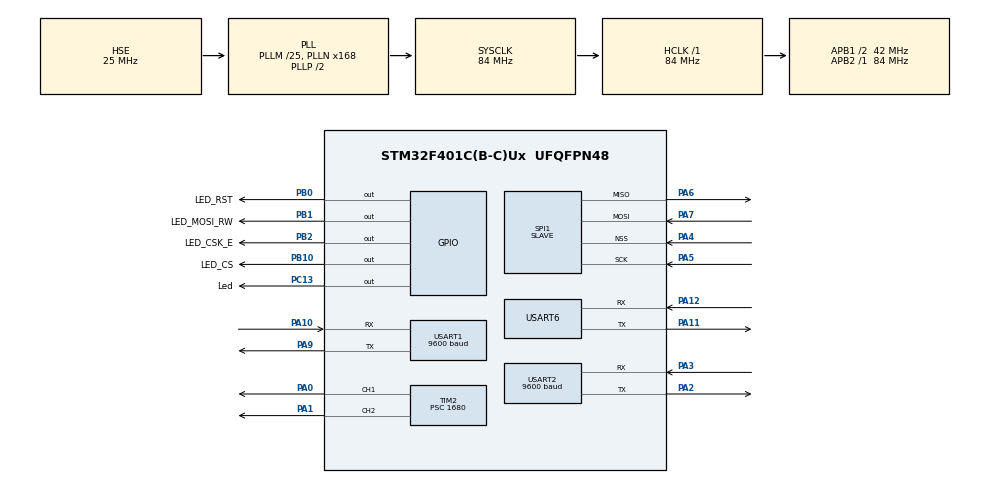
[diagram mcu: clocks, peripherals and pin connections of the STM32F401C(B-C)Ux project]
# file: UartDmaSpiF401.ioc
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Mcu.Family=STM32F4
PA6.Mode=Full_Duplex_Slave
RCC.CortexFreq_Value=84000000
SPI1.VirtualType=VM_SLAVE
USART1.BaudRate=9600
PA11.Mode=Asynchronous
PB0.GPIO_Label=LED_RST
TIM2.Channel-PWM\ Generation2\ CH2=TIM_CHANNEL_2
Dma.USART2_RX.1.MemDataAlignment=DMA_MDATAALIGN_BYTE
RCC.SYSCLKSource=RCC_SYSCLKSOURCE_PLLCLK
ProjectManager.StackSize=0x400
PA12.Signal=USART6_RX
TIM1.Prescaler=84-1
SPI1.CLKPolarity=SPI_POLARITY_LOW
PH0\ -\ OSC_IN.Signal=RCC_OSC_IN
PA4.Mode=NSS_Signal_Hard_Input
SPI1.Direction=SPI_DIRECTION_2LINES
RCC.HCLKFreq_Value=84000000
RCC.APB2TimFreq_Value=84000000
TIM3.Period=1000
Dma.USART2_RX.1.PeriphInc=DMA_PINC_DISABLE
Dma.USART2_RX.1.MemInc=DMA_MINC_ENABLE
RCC.AHBFreq_Value=84000000
Dma.USART1_RX.0.Priority=DMA_PRIORITY_LOW
RCC.HSE_VALUE=25000000
PB2.Signal=GPIO_Output
PC13-ANTI_TAMP.Signal=GPIO_Output
TIM3.Prescaler=41999
PB1.GPIO_Label=LED_MOSI_RW
NVIC.TIM2_IRQn=true\:0\:0\:false\:false\:true\:true\:true
SPI1.DataSize=SPI_DATASIZE_8BIT
SPI1.VirtualNSS=VM_NSSHARD
TIM2.Channel-PWM\ Generation1\ CH1=TIM_CHANNEL_1
Dma.USART1_RX.0.MemInc=DMA_MINC_ENABLE
VP_TIM1_VS_ClockSourceINT.Mode=Internal
Mcu.Package=UFQFPN48
TIM2.Prescaler=1680
PB1.Signal=GPIO_Output
PA6.Signal=SPI1_MISO
USART2.VirtualMode=VM_ASYNC
USART6.VirtualMode=VM_ASYNC
PA10.Signal=USART1_RX
Dma.USART1_RX.0.FIFOMode=DMA_FIFOMODE_DISABLE
NVIC.DMA2_Stream2_IRQn=true\:0\:0\:false\:false\:true\:false\:true
Dma.Request1=USART2_RX
RCC.APB1TimFreq_Value=84000000
Dma.USART1_RX.0.Mode=DMA_NORMAL
TIM1.Period=0xffff-1
Dma.USART2_RX.1.Mode=DMA_NORMAL
Dma.Request0=USART1_RX
Dma.USART1_RX.0.Instance=DMA2_Stream2
VP_TIM3_VS_ClockSourceINT.Mode=Internal
PA3.Signal=USART2_RX
PA5.Mode=Full_Duplex_Slave
RCC.PLLSourceVirtual=RCC_PLLSOURCE_HSE
Dma.USART2_RX.1.Priority=DMA_PRIORITY_LOW
Dma.USART2_RX.1.FIFOMode=DMA_FIFOMODE_DISABLE
PA7.Mode=Full_Duplex_Slave
Dma.USART1_RX.0.PeriphDataAlignment=DMA_PDATAALIGN_BYTE
PA10.Mode=Asynchronous
PC13-ANTI_TAMP.GPIO_Label=Led
PH1\ -\ OSC_OUT.Mode=HSE-External-Oscillator
SPI1.CLKPhase=SPI_PHASE_1EDGE
RCC.APB1CLKDivider=RCC_HCLK_DIV2
USART2.BaudRate=9600
PA0-WKUP.Signal=S_TIM2_CH1_ETR
NVIC.USART6_IRQn=true\:0\:0\:false\:false\:true\:true\:true
PA13.Signal=SYS_JTMS-SWDIO
PA3.Mode=Asynchronous
SH.S_TIM2_CH2.0=TIM2_CH2,PWM Generation2 CH2
PA9.Mode=Asynchronous
PH0\ -\ OSC_IN.Mode=HSE-External-Oscillator
ProjectManager.TargetToolchain=SW4STM32
PB10.GPIO_Label=LED_CS
NVIC.DMA1_Stream5_IRQn=true\:0\:0\:false\:false\:true\:false\:true
Dma.USART1_RX.0.Direction=DMA_PERIPH_TO_MEMORY
PA9.Signal=USART1_TX
RCC.LSE_VALUE=32768
PA1.Signal=S_TIM2_CH2
Dma.USART1_RX.0.PeriphInc=DMA_PINC_DISABLE
Dma.USART2_RX.1.Instance=DMA1_Stream5
PB10.Signal=GPIO_Output
Dma.USART2_RX.1.Direction=DMA_PERIPH_TO_MEMORY
PA5.Signal=SPI1_SCK
Dma.USART2_RX.1.PeriphDataAlignment=DMA_PDATAALIGN_BYTE
PH1\ -\ OSC_OUT.Signal=RCC_OSC_OUT
board=custom
RCC.VCOOutputFreq_Value=168000000
NVIC.TIM3_IRQn=true\:0\:0\:false\:false\:true\:true\:true
RCC.APB2Freq_Value=84000000
VP_TIM2_VS_ClockSourceINT.Mode=Internal
SPI1.Mode=SPI_MODE_SLAVE
Dma.USART1_RX.0.MemDataAlignment=DMA_MDATAALIGN_BYTE
TIM2.Period=1000
Mcu.Name=STM32F401C(B-C)Ux
PA2.Signal=USART2_TX
RCC.48MHZClocksFreq_Value=42000000
PA4.Signal=SPI1_NSS
RCC.SYSCLKFreq_VALUE=84000000
PA12.Mode=Asynchronous
USART1.VirtualMode=VM_ASYNC
PA11.Signal=USART6_TX
SH.S_TIM2_CH1_ETR.0=TIM2_CH1,PWM Generation1 CH1
PA14.Signal=SYS_JTCK-SWCLK
PB2.GPIO_Label=LED_CSK_E
ProjectManager.HeapSize=0x200
RCC.HSI_VALUE=16000000
NVIC.PriorityGroup=NVIC_PRIORITYGROUP_4
RCC.PLLM=25
RCC.PLLN=168
PA2.Mode=Asynchronous
RCC.APB1Freq_Value=42000000
PB0.Signal=GPIO_Output
PA7.Signal=SPI1_MOSI

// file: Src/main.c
/* USER CODE BEGIN Header */
/**
  ******************************************************************************
  * @file           : main.c
  * @brief          : Main program body
  ******************************************************************************
  * @attention
  *
  * <h2><center>&copy; Copyright (c) 2022 STMicroelectronics.
  * All rights reserved.</center></h2>
  *
  * This software component is licensed by ST under BSD 3-Clause license,
  * the "License"; You may not use this file except in compliance with the
  * License. You may obtain a copy of the License at:
  *                        opensource.org/licenses/BSD-3-Clause
  *
  ******************************************************************************
  */
/* USER CODE END Header */

#include "main.h"

/* USER CODE BEGIN Includes */
#include "delay.h"
#include "ST7920_SERIAL.h"
#include "bitmap.h"
/* USER CODE END Includes */

SPI_HandleTypeDef hspi1;

TIM_HandleTypeDef htim1;
TIM_HandleTypeDef htim2;
TIM_HandleTypeDef htim3;

UART_HandleTypeDef huart1;
UART_HandleTypeDef huart2;
UART_HandleTypeDef huart6;
DMA_HandleTypeDef hdma_usart1_rx;
DMA_HandleTypeDef hdma_usart2_rx;

/* USER CODE BEGIN PV */
uint8_t Rx_data1[SIZEBUF];
uint8_t Rx_data2[SIZEBUF];
char buffer[64];
/* USER CODE END PV */

void SystemClock_Config(void);
static void MX_GPIO_Init(void);
static void MX_DMA_Init(void);
static void MX_USART1_UART_Init(void);
static void MX_USART2_UART_Init(void);
static void MX_USART6_UART_Init(void);
static void MX_TIM2_Init(void);
static void MX_SPI1_Init(void);
static void MX_TIM3_Init(void);
static void MX_TIM1_Init(void);

/* USER CODE BEGIN 0 */
int toggleLed()
{
                HAL_GPIO_TogglePin(Led_GPIO_Port, Led_Pin);
                HAL_Delay(200);
                HAL_GPIO_TogglePin(Led_GPIO_Port, Led_Pin);
                HAL_Delay(100);
                return 0;
}
/* USER CODE END 0 */

int main(void)
{
  /* USER CODE BEGIN 1 */
    uint8_t i, poz = MINPOZ;
    uint32_t count = 0;
    //uint8_t bbegin = 255, bmid = 254;
    uint16_t distance1, distance2;
    uint8_t endCh[] = { '\n', '\r' };
    uint8_t spiDATA[8];
  /* USER CODE END 1 */

  /* MCU Configuration--------------------------------------------------------*/

  /* Reset of all peripherals, Initializes the Flash interface and the Systick. */
  HAL_Init();

  /* Configure the system clock */
  SystemClock_Config();

  /* Initialize all configured peripherals */
  MX_GPIO_Init();
  MX_DMA_Init();
  MX_USART1_UART_Init();
  MX_USART2_UART_Init();
  MX_USART6_UART_Init();
  MX_TIM2_Init();
  MX_SPI1_Init();
  MX_TIM3_Init();
  MX_TIM1_Init();
  /* USER CODE BEGIN 2 */
  HAL_TIM_Base_Start_IT(&htim3);
  HAL_TIM_PWM_Start(&htim2, TIM_CHANNEL_1);
  HAL_TIM_PWM_Start(&htim2, TIM_CHANNEL_2);
  HAL_UART_Receive_DMA(&huart1, (uint8_t *)Rx_data1, SIZEBUF);
  HAL_UART_Receive_DMA(&huart1, (uint8_t *)Rx_data2, SIZEBUF);
  for (uint8_t j = 0; j < 3; j++)
                          toggleLed();
  	HAL_Delay(1000);
    delay_init();
    ST7920_Init();

    ST7920_SendString(0,0, "Line 1");
    ST7920_SendString(1,0, "Line 2");
    ST7920_SendString(2,0, "Line 3");
    ST7920_SendString(3,0, "1234567890!@#$%^");

  /* USER CODE END 2 */

  /* Infinite loop */
  /* USER CODE BEGIN WHILE */
  while (1)
  {
       HAL_Delay(100);
       HAL_UART_Receive_DMA(&huart1, (uint8_t *)Rx_data1, SIZEBUF);
       HAL_UART_Receive_DMA(&huart2, (uint8_t *)Rx_data2, SIZEBUF);

       //HAL_UART_Transmit(&huart6, Rx_data1, SIZEBUF, 0xffffff);

       if (Rx_data1[0] == 255) {
               //HAL_UART_Transmit(&huart6, (uint8_t *)"Ok", 2, 0xffffff);
               distance1 = (Rx_data1[1]<<8) + Rx_data1[2];
                       if(((Rx_data1[0] + Rx_data1[1] + Rx_data1[2]) & 0xFF) != Rx_data1[3]){
                               distance1 = 10000;
                       }
               }
       if (Rx_data2[0] == 255) {
               distance2 = (Rx_data2[1]<<8) + Rx_data2[2];
                       if(((Rx_data2[0] + Rx_data2[1] + Rx_data2[2]) & 0xFF) != Rx_data2[3]){
                               distance2 = 10000;
                       }
               }
       sprintf(buffer, "%5u %5u", distance1, distance2);
       HAL_UART_Transmit(&huart6, (uint8_t *)buffer, strlen(buffer), 0xffffff);
       HAL_UART_Transmit(&huart6, (uint8_t *)"\n\r", 2, 0xffffff);
       //ST7920_Clear();
       ST7920_SendString(0,0, buffer);
       sprintf(buffer, "%8u", count);
       ST7920_SendString(1,0, buffer);
               count++;
               distance1 = distance2 = 0;

       spiDATA[0]=6;
       spiDATA[1]=7;
       spiDATA[2]=2;
       HAL_SPI_Transmit(&hspi1, spiDATA, 3, 10);
       for (i = 0; i < 4; i++) Rx_data1[i] = 0;
           for (i = 0; i < 4; i++) Rx_data2[i] = 0;

    /* USER CODE END WHILE */

    /* USER CODE BEGIN 3 */
        __HAL_TIM_SetCompare(&htim2, TIM_CHANNEL_1, poz++);
        __HAL_TIM_SetCompare(&htim2, TIM_CHANNEL_2, poz++);
        if (poz >= MAXPOZ + 1) poz = MINPOZ;

  }
  /* USER CODE END 3 */
}

void SystemClock_Config(void)
{
  RCC_OscInitTypeDef RCC_OscInitStruct = {0};
  RCC_ClkInitTypeDef RCC_ClkInitStruct = {0};

  /** Configure the main internal regulator output voltage
  */
  __HAL_RCC_PWR_CLK_ENABLE();
  __HAL_PWR_VOLTAGESCALING_CONFIG(PWR_REGULATOR_VOLTAGE_SCALE2);
  /** Initializes the CPU, AHB and APB busses clocks
  */
  RCC_OscInitStruct.OscillatorType = RCC_OSCILLATORTYPE_HSE;
  RCC_OscInitStruct.HSEState = RCC_HSE_ON;
  RCC_OscInitStruct.PLL.PLLState = RCC_PLL_ON;
  RCC_OscInitStruct.PLL.PLLSource = RCC_PLLSOURCE_HSE;
  RCC_OscInitStruct.PLL.PLLM = 25;
  RCC_OscInitStruct.PLL.PLLN = 168;
  RCC_OscInitStruct.PLL.PLLP = RCC_PLLP_DIV2;
  RCC_OscInitStruct.PLL.PLLQ = 4;
  if (HAL_RCC_OscConfig(&RCC_OscInitStruct) != HAL_OK)
  {
    Error_Handler();
  }
  /** Initializes the CPU, AHB and APB busses clocks
  */
  RCC_ClkInitStruct.ClockType = RCC_CLOCKTYPE_HCLK|RCC_CLOCKTYPE_SYSCLK
                              |RCC_CLOCKTYPE_PCLK1|RCC_CLOCKTYPE_PCLK2;
  RCC_ClkInitStruct.SYSCLKSource = RCC_SYSCLKSOURCE_PLLCLK;
  RCC_ClkInitStruct.AHBCLKDivider = RCC_SYSCLK_DIV1;
  RCC_ClkInitStruct.APB1CLKDivider = RCC_HCLK_DIV2;
  RCC_ClkInitStruct.APB2CLKDivider = RCC_HCLK_DIV1;

  if (HAL_RCC_ClockConfig(&RCC_ClkInitStruct, FLASH_LATENCY_2) != HAL_OK)
  {
    Error_Handler();
  }
}

static void MX_SPI1_Init(void)
{

  /* SPI1 parameter configuration*/
  hspi1.Instance = SPI1;
  hspi1.Init.Mode = SPI_MODE_SLAVE;
  hspi1.Init.Direction = SPI_DIRECTION_2LINES;
  hspi1.Init.DataSize = SPI_DATASIZE_8BIT;
  hspi1.Init.CLKPolarity = SPI_POLARITY_LOW;
  hspi1.Init.CLKPhase = SPI_PHASE_1EDGE;
  hspi1.Init.NSS = SPI_NSS_HARD_INPUT;
  hspi1.Init.FirstBit = SPI_FIRSTBIT_MSB;
  hspi1.Init.TIMode = SPI_TIMODE_DISABLE;
  hspi1.Init.CRCCalculation = SPI_CRCCALCULATION_DISABLE;
  hspi1.Init.CRCPolynomial = 10;
  if (HAL_SPI_Init(&hspi1) != HAL_OK)
  {
    Error_Handler();
  }

}

static void MX_TIM1_Init(void)
{

  TIM_ClockConfigTypeDef sClockSourceConfig = {0};
  TIM_MasterConfigTypeDef sMasterConfig = {0};

  htim1.Instance = TIM1;
  htim1.Init.Prescaler = 84-1;
  htim1.Init.CounterMode = TIM_COUNTERMODE_UP;
  htim1.Init.Period = 0xffff-1;
  htim1.Init.ClockDivision = TIM_CLOCKDIVISION_DIV1;
  htim1.Init.RepetitionCounter = 0;
  htim1.Init.AutoReloadPreload = TIM_AUTORELOAD_PRELOAD_DISABLE;
  if (HAL_TIM_Base_Init(&htim1) != HAL_OK)
  {
    Error_Handler();
  }
  sClockSourceConfig.ClockSource = TIM_CLOCKSOURCE_INTERNAL;
  if (HAL_TIM_ConfigClockSource(&htim1, &sClockSourceConfig) != HAL_OK)
  {
    Error_Handler();
  }
  sMasterConfig.MasterOutputTrigger = TIM_TRGO_RESET;
  sMasterConfig.MasterSlaveMode = TIM_MASTERSLAVEMODE_DISABLE;
  if (HAL_TIMEx_MasterConfigSynchronization(&htim1, &sMasterConfig) != HAL_OK)
  {
    Error_Handler();
  }

}

static void MX_TIM2_Init(void)
{

  TIM_ClockConfigTypeDef sClockSourceConfig = {0};
  TIM_MasterConfigTypeDef sMasterConfig = {0};
  TIM_OC_InitTypeDef sConfigOC = {0};

  htim2.Instance = TIM2;
  htim2.Init.Prescaler = 1680;
  htim2.Init.CounterMode = TIM_COUNTERMODE_UP;
  htim2.Init.Period = 1000;
  htim2.Init.ClockDivision = TIM_CLOCKDIVISION_DIV1;
  htim2.Init.AutoReloadPreload = TIM_AUTORELOAD_PRELOAD_DISABLE;
  if (HAL_TIM_Base_Init(&htim2) != HAL_OK)
  {
    Error_Handler();
  }
  sClockSourceConfig.ClockSource = TIM_CLOCKSOURCE_INTERNAL;
  if (HAL_TIM_ConfigClockSource(&htim2, &sClockSourceConfig) != HAL_OK)
  {
    Error_Handler();
  }
  if (HAL_TIM_PWM_Init(&htim2) != HAL_OK)
  {
    Error_Handler();
  }
  sMasterConfig.MasterOutputTrigger = TIM_TRGO_RESET;
  sMasterConfig.MasterSlaveMode = TIM_MASTERSLAVEMODE_DISABLE;
  if (HAL_TIMEx_MasterConfigSynchronization(&htim2, &sMasterConfig) != HAL_OK)
  {
    Error_Handler();
  }
  sConfigOC.OCMode = TIM_OCMODE_PWM1;
  sConfigOC.Pulse = 0;
  sConfigOC.OCPolarity = TIM_OCPOLARITY_HIGH;
  sConfigOC.OCFastMode = TIM_OCFAST_DISABLE;
  if (HAL_TIM_PWM_ConfigChannel(&htim2, &sConfigOC, TIM_CHANNEL_1) != HAL_OK)
  {
    Error_Handler();
  }
  if (HAL_TIM_PWM_ConfigChannel(&htim2, &sConfigOC, TIM_CHANNEL_2) != HAL_OK)
  {
    Error_Handler();
  }
  HAL_TIM_MspPostInit(&htim2);

}

static void MX_TIM3_Init(void)
{

  TIM_ClockConfigTypeDef sClockSourceConfig = {0};
  TIM_MasterConfigTypeDef sMasterConfig = {0};

  htim3.Instance = TIM3;
  htim3.Init.Prescaler = 41999;
  htim3.Init.CounterMode = TIM_COUNTERMODE_UP;
  htim3.Init.Period = 1000;
  htim3.Init.ClockDivision = TIM_CLOCKDIVISION_DIV1;
  htim3.Init.AutoReloadPreload = TIM_AUTORELOAD_PRELOAD_DISABLE;
  if (HAL_TIM_Base_Init(&htim3) != HAL_OK)
  {
    Error_Handler();
  }
  sClockSourceConfig.ClockSource = TIM_CLOCKSOURCE_INTERNAL;
  if (HAL_TIM_ConfigClockSource(&htim3, &sClockSourceConfig) != HAL_OK)
  {
    Error_Handler();
  }
  sMasterConfig.MasterOutputTrigger = TIM_TRGO_RESET;
  sMasterConfig.MasterSlaveMode = TIM_MASTERSLAVEMODE_DISABLE;
  if (HAL_TIMEx_MasterConfigSynchronization(&htim3, &sMasterConfig) != HAL_OK)
  {
    Error_Handler();
  }

}

static void MX_USART1_UART_Init(void)
{

  huart1.Instance = USART1;
  huart1.Init.BaudRate = 9600;
  huart1.Init.WordLength = UART_WORDLENGTH_8B;
  huart1.Init.StopBits = UART_STOPBITS_1;
  huart1.Init.Parity = UART_PARITY_NONE;
  huart1.Init.Mode = UART_MODE_TX_RX;
  huart1.Init.HwFlowCtl = UART_HWCONTROL_NONE;
  huart1.Init.OverSampling = UART_OVERSAMPLING_16;
  if (HAL_UART_Init(&huart1) != HAL_OK)
  {
    Error_Handler();
  }

}

static void MX_USART2_UART_Init(void)
{

  huart2.Instance = USART2;
  huart2.Init.BaudRate = 9600;
  huart2.Init.WordLength = UART_WORDLENGTH_8B;
  huart2.Init.StopBits = UART_STOPBITS_1;
  huart2.Init.Parity = UART_PARITY_NONE;
  huart2.Init.Mode = UART_MODE_TX_RX;
  huart2.Init.HwFlowCtl = UART_HWCONTROL_NONE;
  huart2.Init.OverSampling = UART_OVERSAMPLING_16;
  if (HAL_UART_Init(&huart2) != HAL_OK)
  {
    Error_Handler();
  }

}

static void MX_USART6_UART_Init(void)
{

  huart6.Instance = USART6;
  huart6.Init.BaudRate = 115200;
  huart6.Init.WordLength = UART_WORDLENGTH_8B;
  huart6.Init.StopBits = UART_STOPBITS_1;
  huart6.Init.Parity = UART_PARITY_NONE;
  huart6.Init.Mode = UART_MODE_TX_RX;
  huart6.Init.HwFlowCtl = UART_HWCONTROL_NONE;
  huart6.Init.OverSampling = UART_OVERSAMPLING_16;
  if (HAL_UART_Init(&huart6) != HAL_OK)
  {
    Error_Handler();
  }

}

static void MX_DMA_Init(void)
{

  /* DMA controller clock enable */
  __HAL_RCC_DMA2_CLK_ENABLE();
  __HAL_RCC_DMA1_CLK_ENABLE();

  /* DMA interrupt init */
  /* DMA1_Stream5_IRQn interrupt configuration */
  HAL_NVIC_SetPriority(DMA1_Stream5_IRQn, 0, 0);
  HAL_NVIC_EnableIRQ(DMA1_Stream5_IRQn);
  /* DMA2_Stream2_IRQn interrupt configuration */
  HAL_NVIC_SetPriority(DMA2_Stream2_IRQn, 0, 0);
  HAL_NVIC_EnableIRQ(DMA2_Stream2_IRQn);

}

static void MX_GPIO_Init(void)
{
  GPIO_InitTypeDef GPIO_InitStruct = {0};

  /* GPIO Ports Clock Enable */
  __HAL_RCC_GPIOC_CLK_ENABLE();
  __HAL_RCC_GPIOH_CLK_ENABLE();
  __HAL_RCC_GPIOA_CLK_ENABLE();
  __HAL_RCC_GPIOB_CLK_ENABLE();

  /*Configure GPIO pin Output Level */
  HAL_GPIO_WritePin(Led_GPIO_Port, Led_Pin, GPIO_PIN_RESET);

  /*Configure GPIO pin Output Level */
  HAL_GPIO_WritePin(GPIOB, LED_RST_Pin|LED_MOSI_RW_Pin|LED_CSK_E_Pin|LED_CS_Pin, GPIO_PIN_RESET);

  /*Configure GPIO pin : Led_Pin */
  GPIO_InitStruct.Pin = Led_Pin;
  GPIO_InitStruct.Mode = GPIO_MODE_OUTPUT_PP;
  GPIO_InitStruct.Pull = GPIO_NOPULL;
  GPIO_InitStruct.Speed = GPIO_SPEED_FREQ_LOW;
  HAL_GPIO_Init(Led_GPIO_Port, &GPIO_InitStruct);

  /*Configure GPIO pins : LED_RST_Pin LED_MOSI_RW_Pin LED_CSK_E_Pin LED_CS_Pin */
  GPIO_InitStruct.Pin = LED_RST_Pin|LED_MOSI_RW_Pin|LED_CSK_E_Pin|LED_CS_Pin;
  GPIO_InitStruct.Mode = GPIO_MODE_OUTPUT_PP;
  GPIO_InitStruct.Pull = GPIO_NOPULL;
  GPIO_InitStruct.Speed = GPIO_SPEED_FREQ_LOW;
  HAL_GPIO_Init(GPIOB, &GPIO_InitStruct);

}

void Error_Handler(void)
{
}

/************************ (C) COPYRIGHT STMicroelectronics *****END OF FILE****/
